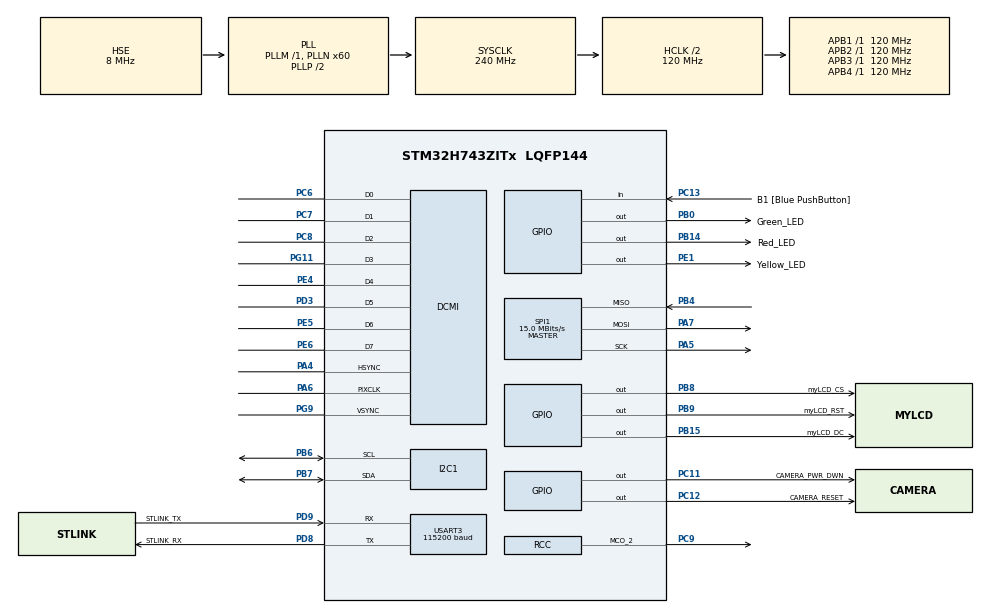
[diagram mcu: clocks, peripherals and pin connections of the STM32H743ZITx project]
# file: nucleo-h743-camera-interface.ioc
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DCMI.ByteSelectMode=DCMI_BSM_ALL
DCMI.HSPolarity=DCMI_HSPOLARITY_LOW
DCMI.PCKPolarity=DCMI_PCKPOLARITY_RISING
DCMI.VSPolarity=DCMI_VSPOLARITY_HIGH
Dma.DCMI.0.Direction=DMA_PERIPH_TO_MEMORY
Dma.DCMI.0.EventEnable=DISABLE
Dma.DCMI.0.FIFOMode=DMA_FIFOMODE_DISABLE
Dma.DCMI.0.Instance=DMA1_Stream1
Dma.DCMI.0.MemDataAlignment=DMA_MDATAALIGN_WORD
Dma.DCMI.0.MemInc=DMA_MINC_ENABLE
Dma.DCMI.0.Mode=DMA_NORMAL
Dma.DCMI.0.PeriphDataAlignment=DMA_PDATAALIGN_WORD
Dma.DCMI.0.PeriphInc=DMA_PINC_DISABLE
Dma.DCMI.0.Polarity=HAL_DMAMUX_REQ_GEN_RISING
Dma.DCMI.0.Priority=DMA_PRIORITY_MEDIUM
Dma.DCMI.0.RequestNumber=1
Dma.DCMI.0.SignalID=NONE
Dma.DCMI.0.SyncEnable=DISABLE
Dma.DCMI.0.SyncPolarity=HAL_DMAMUX_SYNC_NO_EVENT
Dma.DCMI.0.SyncRequestNumber=1
Dma.DCMI.0.SyncSignalID=NONE
Dma.Request0=DCMI
I2C1.Timing=0x307075B1
Mcu.Family=STM32H7
Mcu.Name=STM32H743ZITx
Mcu.Package=LQFP144
NVIC.DCMI_IRQn=true\:0\:0\:false\:false\:true\:true\:true
NVIC.DMA1_Stream1_IRQn=true\:0\:0\:false\:false\:true\:false\:true
NVIC.PriorityGroup=NVIC_PRIORITYGROUP_4
PA4.Mode=Slave_8_bits_External_Synchro
PA4.Signal=DCMI_HSYNC
PA5.Mode=Full_Duplex_Master
PA5.Signal=SPI1_SCK
PA6.Mode=Slave_8_bits_External_Synchro
PA6.Signal=DCMI_PIXCLK
PA7.Mode=Full_Duplex_Master
PA7.Signal=SPI1_MOSI
PB0.GPIO_Label=Green_LED
PB0.Signal=GPIO_Output
PB14.GPIO_Label=Red_LED
PB14.Signal=GPIO_Output
PB15.GPIO_Label=myLCD_DC
PB15.Signal=GPIO_Output
PB4\ (NJTRST).Mode=Full_Duplex_Master
PB4\ (NJTRST).Signal=SPI1_MISO
PB6.GPIO_PuPd=GPIO_PULLUP
PB6.Mode=I2C
PB6.Signal=I2C1_SCL
PB7.GPIO_PuPd=GPIO_PULLUP
PB7.Mode=I2C
PB7.Signal=I2C1_SDA
PB8.GPIO_Label=myLCD_CS
PB8.GPIO_Speed=GPIO_SPEED_FREQ_VERY_HIGH
PB8.Signal=GPIO_Output
PB9.GPIO_Label=myLCD_RST
PB9.Signal=GPIO_Output
PC11.GPIO_Label=CAMERA_PWR_DWN
PC11.Signal=GPIO_Output
PC12.GPIO_Label=CAMERA_RESET
PC12.PinState=GPIO_PIN_SET
PC12.Signal=GPIO_Output
PC13.GPIO_Label=B1 [Blue PushButton]
PC13.Signal=GPIO_Input
PC14-OSC32_IN\ (OSC32_IN).Mode=LSE-External-Oscillator
PC14-OSC32_IN\ (OSC32_IN).Signal=RCC_OSC32_IN
PC15-OSC32_OUT\ (OSC32_OUT).Mode=LSE-External-Oscillator
PC15-OSC32_OUT\ (OSC32_OUT).Signal=RCC_OSC32_OUT
PC6.Mode=Slave_8_bits_External_Synchro
PC6.Signal=DCMI_D0
PC7.Mode=Slave_8_bits_External_Synchro
PC7.Signal=DCMI_D1
PC8.Mode=Slave_8_bits_External_Synchro
PC8.Signal=DCMI_D2
PC9.Mode=Clock-out-2
PC9.Signal=RCC_MCO_2
PD3.Mode=Slave_8_bits_External_Synchro
PD3.Signal=DCMI_D5
PD8.GPIO_Label=STLINK_RX
PD8.Mode=Asynchronous
PD8.Signal=USART3_TX
PD9.GPIO_Label=STLINK_TX
PD9.Mode=Asynchronous
PD9.Signal=USART3_RX
PE1.GPIO_Label=Yellow_LED
PE1.Signal=GPIO_Output
PE4.Mode=Slave_8_bits_External_Synchro
PE4.Signal=DCMI_D4
PE5.Mode=Slave_8_bits_External_Synchro
PE5.Signal=DCMI_D6
PE6.Mode=Slave_8_bits_External_Synchro
PE6.Signal=DCMI_D7
PG11.Mode=Slave_8_bits_External_Synchro
PG11.Signal=DCMI_D3
PG9.Mode=Slave_8_bits_External_Synchro
PG9.Signal=DCMI_VSYNC
PH0-OSC_IN\ (PH0).Mode=HSE-External-Clock-Source
PH0-OSC_IN\ (PH0).Signal=RCC_OSC_IN
PH1-OSC_OUT\ (PH1).Signal=RCC_OSC_OUT
ProjectManager.HeapSize=0x200
ProjectManager.StackSize=0x400
ProjectManager.TargetToolchain=STM32CubeIDE
RCC.ADCFreq_Value=50666666.666666664
RCC.APB1Freq_Value=120000000
RCC.APB2Freq_Value=120000000
RCC.APB3Freq_Value=120000000
RCC.APB4Freq_Value=120000000
RCC.CortexFreq_Value=240000000
RCC.DIVM1=1
RCC.DIVM2=1
RCC.DIVN1=60
RCC.DIVN2=19
RCC.DIVP2=3
RCC.DIVQ1=4
RCC.HCLKFreq_Value=120000000
RCC.HPRE=RCC_HCLK_DIV2
RCC.HSE_VALUE=8000000
RCC.PLL2FRACN=0
RCC.PLL3FRACN=0
RCC.PLLFRACN=0
RCC.PLLSourceVirtual=RCC_PLLSOURCE_HSE
RCC.RCC_MCODiv2=RCC_MCODIV_8
RCC.SYSCLKFreq_VALUE=240000000
RCC.SYSCLKSource=RCC_SYSCLKSOURCE_PLLCLK
RCC.USBFreq_Value=120000000
SPI1.BaudRatePrescaler=SPI_BAUDRATEPRESCALER_8
SPI1.CalculateBaudRate=15.0 MBits/s
SPI1.DataSize=SPI_DATASIZE_8BIT
SPI1.Direction=SPI_DIRECTION_2LINES
SPI1.Mode=SPI_MODE_MASTER
SPI1.VirtualType=VM_MASTER
TIM2.Period=1
TIM2.Prescaler=20
USART3.BaudRate=115200
USART3.VirtualMode-Asynchronous=VM_ASYNC
VP_TIM2_VS_ClockSourceINT.Mode=Internal
board=NUCLEO-H743ZI2

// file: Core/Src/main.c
/* USER CODE BEGIN Header */
/**
  ******************************************************************************
  * @file           : main.c
  * @brief          : Main program body
  ******************************************************************************
  * @attention
  *
  * Author: Enrique Phan
  * Date :	2020/09/20
  * Github: PHANzgz
  *
  ******************************************************************************
  */
/* USER CODE END Header */
#include "main.h"

/* USER CODE BEGIN Includes */
#include <stdio.h>
#include "string.h"
#include "../../Drivers/OV7670/OV7670.h"
#include "../../Drivers/ILI9341_Serial/ILI9341.h"
#include "../../Drivers/ILI9341_Serial/ILI9341_GFX.h"

#include "img.h"
/* USER CODE END Includes */

/* USER CODE BEGIN PD */
#define USE_GRAYSCALE 0

/* USER CODE END PD */

DCMI_HandleTypeDef hdcmi;
DMA_HandleTypeDef hdma_dcmi;

I2C_HandleTypeDef hi2c1;

SPI_HandleTypeDef hspi1;

TIM_HandleTypeDef htim2;

UART_HandleTypeDef huart3;

/* USER CODE BEGIN PV */
#if USE_GRAYSCALE
uint32_t frame_buffer[OV7670_QVGA_WIDTH * OV7670_QVGA_HEIGHT/4];
#else
uint32_t frame_buffer[OV7670_QVGA_WIDTH * OV7670_QVGA_HEIGHT/2];
#endif
uint8_t new_capture = 0;

/* USER CODE END PV */

void SystemClock_Config(void);
static void MX_GPIO_Init(void);
static void MX_DMA_Init(void);
static void MX_USART3_UART_Init(void);
static void MX_DCMI_Init(void);
static void MX_TIM2_Init(void);
static void MX_I2C1_Init(void);
static void MX_SPI1_Init(void);
/* USER CODE BEGIN PFP */
static void onFrameCallback();

/* USER CODE END PFP */

int main(void)
{

  /* MCU Configuration--------------------------------------------------------*/

  /* Reset of all peripherals, Initializes the Flash interface and the Systick. */
  HAL_Init();

  /* Configure the system clock */
  SystemClock_Config();

  /* Initialize all configured peripherals */
  MX_GPIO_Init();
  MX_DMA_Init();
  MX_USART3_UART_Init();
  MX_DCMI_Init();
  MX_TIM2_Init();
  MX_I2C1_Init();
  MX_SPI1_Init();
  /* USER CODE BEGIN 2 */

  HAL_GPIO_WritePin(CAMERA_PWR_DWN_GPIO_Port, CAMERA_PWR_DWN_Pin, GPIO_PIN_RESET); // Turn on camera
  ov7670_init(&hdcmi, &hdma_dcmi, &hi2c1);

#if USE_GRAYSCALE
  ov7670_config(OV7670_MODE_QVGA_YUV);
#else
  ov7670_config(OV7670_MODE_QVGA_RGB565);
#endif
  //ov7670_config(OV7670_MODE_QVGA_RGB565);
  ov7670_registerCallback(NULL, NULL, &onFrameCallback);
  ILI9341_Init(&hspi1);

  /* USER CODE END 2 */

  /* Infinite loop */
  /* USER CODE BEGIN WHILE */
  while (1)
  {
#if USE_GRAYSCALE
	  // DCMI setting "Byte select" must be "capture every other byte to ignore Cb or Cr data"
	  // DCMI setting "Byte select start" must be "Interface captures second data"
	  if (new_capture) ILI9341_Draw_Image_From_OV7670_GRAY((unsigned char*) frame_buffer);
#else
	  if (new_capture) ILI9341_Draw_Image_From_OV7670((unsigned char*) frame_buffer);
#endif

	  if (HAL_GPIO_ReadPin(B1_GPIO_Port, B1_Pin) == 0){
		  //ov7670_startCap(OV7670_CAP_SINGLE_FRAME, (uint32_t)frame_buffer);
		  ov7670_startCap(OV7670_CAP_SINGLE_FRAME, (uint32_t)frame_buffer);
	  }
    /* USER CODE END WHILE */

  }
}

void SystemClock_Config(void)
{
  RCC_OscInitTypeDef RCC_OscInitStruct = {0};
  RCC_ClkInitTypeDef RCC_ClkInitStruct = {0};
  RCC_PeriphCLKInitTypeDef PeriphClkInitStruct = {0};

  /** Supply configuration update enable
  */
  HAL_PWREx_ConfigSupply(PWR_LDO_SUPPLY);
  /** Configure the main internal regulator output voltage
  */
  __HAL_PWR_VOLTAGESCALING_CONFIG(PWR_REGULATOR_VOLTAGE_SCALE2);

  while(!__HAL_PWR_GET_FLAG(PWR_FLAG_VOSRDY)) {}
  /** Initializes the RCC Oscillators according to the specified parameters
  * in the RCC_OscInitTypeDef structure.
  */
  RCC_OscInitStruct.OscillatorType = RCC_OSCILLATORTYPE_HSE;
  RCC_OscInitStruct.HSEState = RCC_HSE_BYPASS;
  RCC_OscInitStruct.PLL.PLLState = RCC_PLL_ON;
  RCC_OscInitStruct.PLL.PLLSource = RCC_PLLSOURCE_HSE;
  RCC_OscInitStruct.PLL.PLLM = 1;
  RCC_OscInitStruct.PLL.PLLN = 60;
  RCC_OscInitStruct.PLL.PLLP = 2;
  RCC_OscInitStruct.PLL.PLLQ = 4;
  RCC_OscInitStruct.PLL.PLLR = 2;
  RCC_OscInitStruct.PLL.PLLRGE = RCC_PLL1VCIRANGE_3;
  RCC_OscInitStruct.PLL.PLLVCOSEL = RCC_PLL1VCOWIDE;
  RCC_OscInitStruct.PLL.PLLFRACN = 0;
  if (HAL_RCC_OscConfig(&RCC_OscInitStruct) != HAL_OK)
  {
    Error_Handler();
  }
  /** Initializes the CPU, AHB and APB buses clocks
  */
  RCC_ClkInitStruct.ClockType = RCC_CLOCKTYPE_HCLK|RCC_CLOCKTYPE_SYSCLK
                              |RCC_CLOCKTYPE_PCLK1|RCC_CLOCKTYPE_PCLK2
                              |RCC_CLOCKTYPE_D3PCLK1|RCC_CLOCKTYPE_D1PCLK1;
  RCC_ClkInitStruct.SYSCLKSource = RCC_SYSCLKSOURCE_PLLCLK;
  RCC_ClkInitStruct.SYSCLKDivider = RCC_SYSCLK_DIV1;
  RCC_ClkInitStruct.AHBCLKDivider = RCC_HCLK_DIV2;
  RCC_ClkInitStruct.APB3CLKDivider = RCC_APB3_DIV1;
  RCC_ClkInitStruct.APB1CLKDivider = RCC_APB1_DIV1;
  RCC_ClkInitStruct.APB2CLKDivider = RCC_APB2_DIV1;
  RCC_ClkInitStruct.APB4CLKDivider = RCC_APB4_DIV1;

  if (HAL_RCC_ClockConfig(&RCC_ClkInitStruct, FLASH_LATENCY_1) != HAL_OK)
  {
    Error_Handler();
  }
  PeriphClkInitStruct.PeriphClockSelection = RCC_PERIPHCLK_USART3|RCC_PERIPHCLK_SPI1
                              |RCC_PERIPHCLK_I2C1;
  PeriphClkInitStruct.Spi123ClockSelection = RCC_SPI123CLKSOURCE_PLL;
  PeriphClkInitStruct.Usart234578ClockSelection = RCC_USART234578CLKSOURCE_D2PCLK1;
  PeriphClkInitStruct.I2c123ClockSelection = RCC_I2C123CLKSOURCE_D2PCLK1;
  if (HAL_RCCEx_PeriphCLKConfig(&PeriphClkInitStruct) != HAL_OK)
  {
    Error_Handler();
  }
  HAL_RCC_MCOConfig(RCC_MCO2, RCC_MCO2SOURCE_SYSCLK, RCC_MCODIV_8);
}

static void MX_DCMI_Init(void)
{

  hdcmi.Instance = DCMI;
  hdcmi.Init.SynchroMode = DCMI_SYNCHRO_HARDWARE;
  hdcmi.Init.PCKPolarity = DCMI_PCKPOLARITY_RISING;
  hdcmi.Init.VSPolarity = DCMI_VSPOLARITY_HIGH;
  hdcmi.Init.HSPolarity = DCMI_HSPOLARITY_LOW;
  hdcmi.Init.CaptureRate = DCMI_CR_ALL_FRAME;
  hdcmi.Init.ExtendedDataMode = DCMI_EXTEND_DATA_8B;
  hdcmi.Init.JPEGMode = DCMI_JPEG_DISABLE;
  hdcmi.Init.ByteSelectMode = DCMI_BSM_ALL;
  hdcmi.Init.ByteSelectStart = DCMI_OEBS_ODD;
  hdcmi.Init.LineSelectMode = DCMI_LSM_ALL;
  hdcmi.Init.LineSelectStart = DCMI_OELS_ODD;
  if (HAL_DCMI_Init(&hdcmi) != HAL_OK)
  {
    Error_Handler();
  }

}

static void MX_I2C1_Init(void)
{

  hi2c1.Instance = I2C1;
  hi2c1.Init.Timing = 0x307075B1;
  hi2c1.Init.OwnAddress1 = 0;
  hi2c1.Init.AddressingMode = I2C_ADDRESSINGMODE_7BIT;
  hi2c1.Init.DualAddressMode = I2C_DUALADDRESS_DISABLE;
  hi2c1.Init.OwnAddress2 = 0;
  hi2c1.Init.OwnAddress2Masks = I2C_OA2_NOMASK;
  hi2c1.Init.GeneralCallMode = I2C_GENERALCALL_DISABLE;
  hi2c1.Init.NoStretchMode = I2C_NOSTRETCH_DISABLE;
  if (HAL_I2C_Init(&hi2c1) != HAL_OK)
  {
    Error_Handler();
  }
  /** Configure Analogue filter
  */
  if (HAL_I2CEx_ConfigAnalogFilter(&hi2c1, I2C_ANALOGFILTER_ENABLE) != HAL_OK)
  {
    Error_Handler();
  }
  /** Configure Digital filter
  */
  if (HAL_I2CEx_ConfigDigitalFilter(&hi2c1, 0) != HAL_OK)
  {
    Error_Handler();
  }

}

static void MX_SPI1_Init(void)
{

  /* SPI1 parameter configuration*/
  hspi1.Instance = SPI1;
  hspi1.Init.Mode = SPI_MODE_MASTER;
  hspi1.Init.Direction = SPI_DIRECTION_2LINES;
  hspi1.Init.DataSize = SPI_DATASIZE_8BIT;
  hspi1.Init.CLKPolarity = SPI_POLARITY_LOW;
  hspi1.Init.CLKPhase = SPI_PHASE_1EDGE;
  hspi1.Init.NSS = SPI_NSS_SOFT;
  hspi1.Init.BaudRatePrescaler = SPI_BAUDRATEPRESCALER_8;
  hspi1.Init.FirstBit = SPI_FIRSTBIT_MSB;
  hspi1.Init.TIMode = SPI_TIMODE_DISABLE;
  hspi1.Init.CRCCalculation = SPI_CRCCALCULATION_DISABLE;
  hspi1.Init.CRCPolynomial = 0x0;
  hspi1.Init.NSSPMode = SPI_NSS_PULSE_ENABLE;
  hspi1.Init.NSSPolarity = SPI_NSS_POLARITY_LOW;
  hspi1.Init.FifoThreshold = SPI_FIFO_THRESHOLD_01DATA;
  hspi1.Init.TxCRCInitializationPattern = SPI_CRC_INITIALIZATION_ALL_ZERO_PATTERN;
  hspi1.Init.RxCRCInitializationPattern = SPI_CRC_INITIALIZATION_ALL_ZERO_PATTERN;
  hspi1.Init.MasterSSIdleness = SPI_MASTER_SS_IDLENESS_00CYCLE;
  hspi1.Init.MasterInterDataIdleness = SPI_MASTER_INTERDATA_IDLENESS_00CYCLE;
  hspi1.Init.MasterReceiverAutoSusp = SPI_MASTER_RX_AUTOSUSP_DISABLE;
  hspi1.Init.MasterKeepIOState = SPI_MASTER_KEEP_IO_STATE_DISABLE;
  hspi1.Init.IOSwap = SPI_IO_SWAP_DISABLE;
  if (HAL_SPI_Init(&hspi1) != HAL_OK)
  {
    Error_Handler();
  }

}

static void MX_TIM2_Init(void)
{

  TIM_ClockConfigTypeDef sClockSourceConfig = {0};
  TIM_MasterConfigTypeDef sMasterConfig = {0};

  htim2.Instance = TIM2;
  htim2.Init.Prescaler = 20;
  htim2.Init.CounterMode = TIM_COUNTERMODE_UP;
  htim2.Init.Period = 1;
  htim2.Init.ClockDivision = TIM_CLOCKDIVISION_DIV1;
  htim2.Init.AutoReloadPreload = TIM_AUTORELOAD_PRELOAD_DISABLE;
  if (HAL_TIM_Base_Init(&htim2) != HAL_OK)
  {
    Error_Handler();
  }
  sClockSourceConfig.ClockSource = TIM_CLOCKSOURCE_INTERNAL;
  if (HAL_TIM_ConfigClockSource(&htim2, &sClockSourceConfig) != HAL_OK)
  {
    Error_Handler();
  }
  sMasterConfig.MasterOutputTrigger = TIM_TRGO_RESET;
  sMasterConfig.MasterSlaveMode = TIM_MASTERSLAVEMODE_DISABLE;
  if (HAL_TIMEx_MasterConfigSynchronization(&htim2, &sMasterConfig) != HAL_OK)
  {
    Error_Handler();
  }

}

static void MX_USART3_UART_Init(void)
{

  huart3.Instance = USART3;
  huart3.Init.BaudRate = 115200;
  huart3.Init.WordLength = UART_WORDLENGTH_8B;
  huart3.Init.StopBits = UART_STOPBITS_1;
  huart3.Init.Parity = UART_PARITY_NONE;
  huart3.Init.Mode = UART_MODE_TX_RX;
  huart3.Init.HwFlowCtl = UART_HWCONTROL_NONE;
  huart3.Init.OverSampling = UART_OVERSAMPLING_16;
  huart3.Init.OneBitSampling = UART_ONE_BIT_SAMPLE_DISABLE;
  huart3.Init.ClockPrescaler = UART_PRESCALER_DIV1;
  huart3.AdvancedInit.AdvFeatureInit = UART_ADVFEATURE_NO_INIT;
  if (HAL_UART_Init(&huart3) != HAL_OK)
  {
    Error_Handler();
  }
  if (HAL_UARTEx_SetTxFifoThreshold(&huart3, UART_TXFIFO_THRESHOLD_1_8) != HAL_OK)
  {
    Error_Handler();
  }
  if (HAL_UARTEx_SetRxFifoThreshold(&huart3, UART_RXFIFO_THRESHOLD_1_8) != HAL_OK)
  {
    Error_Handler();
  }
  if (HAL_UARTEx_DisableFifoMode(&huart3) != HAL_OK)
  {
    Error_Handler();
  }

}

static void MX_DMA_Init(void)
{

  /* DMA controller clock enable */
  __HAL_RCC_DMA1_CLK_ENABLE();

  /* DMA interrupt init */
  /* DMA1_Stream1_IRQn interrupt configuration */
  HAL_NVIC_SetPriority(DMA1_Stream1_IRQn, 0, 0);
  HAL_NVIC_EnableIRQ(DMA1_Stream1_IRQn);

}

static void MX_GPIO_Init(void)
{
  GPIO_InitTypeDef GPIO_InitStruct = {0};

  /* GPIO Ports Clock Enable */
  __HAL_RCC_GPIOE_CLK_ENABLE();
  __HAL_RCC_GPIOC_CLK_ENABLE();
  __HAL_RCC_GPIOH_CLK_ENABLE();
  __HAL_RCC_GPIOA_CLK_ENABLE();
  __HAL_RCC_GPIOB_CLK_ENABLE();
  __HAL_RCC_GPIOD_CLK_ENABLE();
  __HAL_RCC_GPIOG_CLK_ENABLE();

  /*Configure GPIO pin Output Level */
  HAL_GPIO_WritePin(GPIOB, Green_LED_Pin|Red_LED_Pin|myLCD_DC_Pin|myLCD_CS_Pin
                          |myLCD_RST_Pin, GPIO_PIN_RESET);

  /*Configure GPIO pin Output Level */
  HAL_GPIO_WritePin(CAMERA_PWR_DWN_GPIO_Port, CAMERA_PWR_DWN_Pin, GPIO_PIN_RESET);

  /*Configure GPIO pin Output Level */
  HAL_GPIO_WritePin(CAMERA_RESET_GPIO_Port, CAMERA_RESET_Pin, GPIO_PIN_SET);

  /*Configure GPIO pin Output Level */
  HAL_GPIO_WritePin(Yellow_LED_GPIO_Port, Yellow_LED_Pin, GPIO_PIN_RESET);

  /*Configure GPIO pin : B1_Pin */
  GPIO_InitStruct.Pin = B1_Pin;
  GPIO_InitStruct.Mode = GPIO_MODE_INPUT;
  GPIO_InitStruct.Pull = GPIO_NOPULL;
  HAL_GPIO_Init(B1_GPIO_Port, &GPIO_InitStruct);

  /*Configure GPIO pins : Green_LED_Pin Red_LED_Pin myLCD_DC_Pin myLCD_RST_Pin */
  GPIO_InitStruct.Pin = Green_LED_Pin|Red_LED_Pin|myLCD_DC_Pin|myLCD_RST_Pin;
  GPIO_InitStruct.Mode = GPIO_MODE_OUTPUT_PP;
  GPIO_InitStruct.Pull = GPIO_NOPULL;
  GPIO_InitStruct.Speed = GPIO_SPEED_FREQ_LOW;
  HAL_GPIO_Init(GPIOB, &GPIO_InitStruct);

  /*Configure GPIO pin : PC9 */
  GPIO_InitStruct.Pin = GPIO_PIN_9;
  GPIO_InitStruct.Mode = GPIO_MODE_AF_PP;
  GPIO_InitStruct.Pull = GPIO_NOPULL;
  GPIO_InitStruct.Speed = GPIO_SPEED_FREQ_LOW;
  GPIO_InitStruct.Alternate = GPIO_AF0_MCO;
  HAL_GPIO_Init(GPIOC, &GPIO_InitStruct);

  /*Configure GPIO pins : CAMERA_PWR_DWN_Pin CAMERA_RESET_Pin */
  GPIO_InitStruct.Pin = CAMERA_PWR_DWN_Pin|CAMERA_RESET_Pin;
  GPIO_InitStruct.Mode = GPIO_MODE_OUTPUT_PP;
  GPIO_InitStruct.Pull = GPIO_NOPULL;
  GPIO_InitStruct.Speed = GPIO_SPEED_FREQ_LOW;
  HAL_GPIO_Init(GPIOC, &GPIO_InitStruct);

  /*Configure GPIO pin : myLCD_CS_Pin */
  GPIO_InitStruct.Pin = myLCD_CS_Pin;
  GPIO_InitStruct.Mode = GPIO_MODE_OUTPUT_PP;
  GPIO_InitStruct.Pull = GPIO_NOPULL;
  GPIO_InitStruct.Speed = GPIO_SPEED_FREQ_VERY_HIGH;
  HAL_GPIO_Init(myLCD_CS_GPIO_Port, &GPIO_InitStruct);

  /*Configure GPIO pin : Yellow_LED_Pin */
  GPIO_InitStruct.Pin = Yellow_LED_Pin;
  GPIO_InitStruct.Mode = GPIO_MODE_OUTPUT_PP;
  GPIO_InitStruct.Pull = GPIO_NOPULL;
  GPIO_InitStruct.Speed = GPIO_SPEED_FREQ_LOW;
  HAL_GPIO_Init(Yellow_LED_GPIO_Port, &GPIO_InitStruct);

}

/* USER CODE BEGIN 4 */
static void onFrameCallback(){
	new_capture = 1;
}

/* USER CODE END 4 */

void Error_Handler(void)
{
}

/************************ (C) COPYRIGHT STMicroelectronics *****END OF FILE****/
